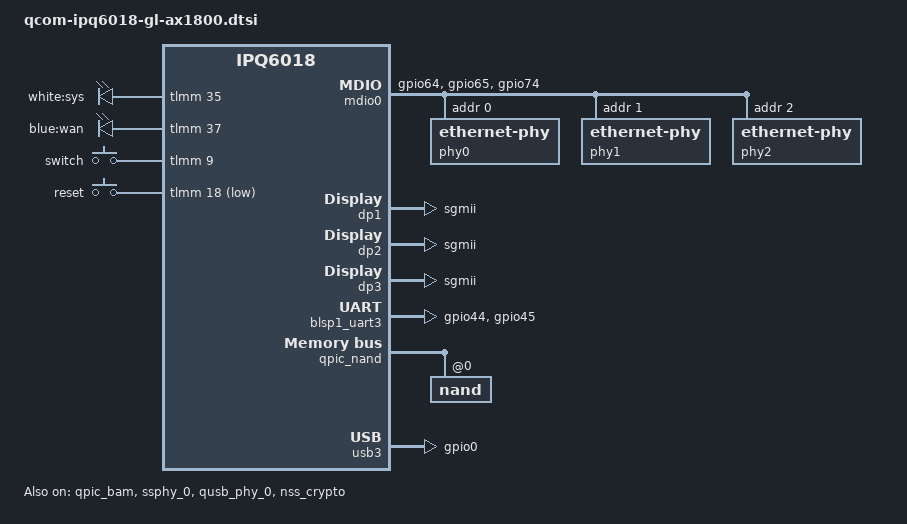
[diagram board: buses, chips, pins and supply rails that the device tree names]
/dts-v1/;
/*
 * Copyright (c) 2019-2021, The Linux Foundation. All rights reserved.
 *
 * Permission to use, copy, modify, and/or distribute this software for any
 * purpose with or without fee is hereby granted, provided that the above
 * copyright notice and this permission notice appear in all copies.
 *
 * THE SOFTWARE IS PROVIDED "AS IS" AND THE AUTHOR DISCLAIMS ALL WARRANTIES
 * WITH REGARD TO THIS SOFTWARE INCLUDING ALL IMPLIED WARRANTIES OF
 * MERCHANTABILITY AND FITNESS. IN NO EVENT SHALL THE AUTHOR BE LIABLE FOR
 * ANY SPECIAL, DIRECT, INDIRECT, OR CONSEQUENTIAL DAMAGES OR ANY DAMAGES
 * WHATSOEVER RESULTING FROM LOSS OF USE, DATA OR PROFITS, WHETHER IN AN
 * ACTION OF CONTRACT, NEGLIGENCE OR OTHER TORTIOUS ACTION, ARISING OUT OF
 * OR IN CONNECTION WITH THE USE OR PERFORMANCE OF THIS SOFTWARE.
 */

#include "ipq6018.dtsi"
#include "ipq6018-cpr-regulator.dtsi"
#include <dt-bindings/input/input.h>

/ {
	#address-cells = <0x2>;
	#size-cells = <0x2>;
	interrupt-parent = <&intc>;
	qcom,msm-id = <0x1A5 0x0>;

	aliases {
		ethernet0 = "/soc/dp1";
		ethernet1 = "/soc/dp2";
		ethernet2 = "/soc/dp3";

		led-boot = &led_run;
		led-failsafe = &led_run;
		led-running = &led_run;
		led-upgrade = &led_run;
	};

	chosen {
		bootargs = "console=ttyMSM0,115200,n8 rw init=/init";
#ifdef __IPQ_MEM_PROFILE_256_MB__
		bootargs-append = " swiotlb=1";
#else
		bootargs-append = " swiotlb=1 coherent_pool=2M";
#endif
	};

	/*
	 * +=========+==============+========================+
	 * |        |              |                         |
	 * | Region | Start Offset |          Size           |
	 * |        |              |                         |
	 * +--------+--------------+-------------------------+
	 * |        |              |                         |
	 * |        |              |                         |
	 * |        |              |                         |
	 * |        |              |                         |
	 * | Linux  |  0x41000000  |         139MB           |
	 * |        |              |                         |
	 * |        |              |                         |
	 * |        |              |                         |
	 * +--------+--------------+-------------------------+
	 * | TZ App |  0x49B00000  |           6MB           |
	 * +--------+--------------+-------------------------+
	 *
	 * From the available 145 MB for Linux in the first 256 MB,
	 * we are reserving 6 MB for TZAPP.
	 *
	 * Refer arch/arm64/boot/dts/qcom/qcom-ipq6018-memory.dtsi
	 * for memory layout.
	 */

/* TZAPP is enabled only in default memory profile */
#if !defined(__IPQ_MEM_PROFILE_256_MB__) && !defined(__IPQ_MEM_PROFILE_512_MB__)
	reserved-memory {
		tzapp:tzapp@49B00000 {	/* TZAPPS */
			no-map;
			reg = <0x0 0x49B00000 0x0 0x00600000>;
		};
	};
#endif
};

&tlmm {
	uart_pins: uart_pins {
		mux {
			pins = "gpio44", "gpio45";
			function = "blsp2_uart";
			drive-strength = <8>;
			bias-pull-down;
		};
	};

	spi_0_pins: spi_0_pins {
		mux {
			pins = "gpio38", "gpio39", "gpio40", "gpio41";
			function = "blsp0_spi";
			drive-strength = <8>;
			bias-pull-down;
		};
	};

	button_pins: button_pins {
		switch_button {
			pins = "gpio9";
			function = "gpio";
			drive-strength = <8>;
			bias-pull-up;
		};
		reset_button {
			pins = "gpio18";
			function = "gpio";
			drive-strength = <8>;
			bias-pull-up;
		};
	};

	mdio_pins: mdio_pinmux {
		mux_0 {
			pins = "gpio64";
			function = "mdc";
			drive-strength = <8>;
			bias-pull-up;
		};
		mux_1 {
			pins = "gpio65";
			function = "mdio";
			drive-strength = <8>;
			bias-pull-up;
		};
		mux_2 {
			pins = "gpio74";
			function = "gpio";
			bias-pull-up;
		};
	};

	leds_pins: leds_pins {
		white {
			pins = "gpio35";
			function = "gpio";
			drive-strength = <8>;
			bias-pull-down;
		};
		blue {
			pins = "gpio37";
			function = "gpio";
			drive-strength = <8>;
			bias-pull-down;
		};
	};

	usb_pins: usb_pins {
		usb_pwr {
			pins = "gpio0";
			function = "gpio";
			bias-pull-up;
			output-high;
		};
	};
};

&soc {
	mdio0: mdio@90000 {
		pinctrl-0 = <&mdio_pins>;
		pinctrl-names = "default";
		phy-reset-gpio = <&tlmm 74 GPIO_ACTIVE_HIGH>;
		status = "ok";
		phy0: ethernet-phy@0 {
			reg = <0>;
		};
		phy1: ethernet-phy@1 {
			reg = <1>;
		};
		phy2: ethernet-phy@2 {
			reg = <2>;
		};
	};

	ess0: ess-switch@3a000000 {
		switch_cpu_bmp = <0x1>;  /* cpu port bitmap */
		switch_lan_bmp = <0x0c>; /* lan port bitmap */
		switch_wan_bmp = <0x02>; /* wan port bitmap */
		switch_inner_bmp = <0xc0>; /*inner port bitmap*/
		switch_mac_mode = <0x0>; /* mac mode for uniphy instance0*/
		switch_mac_mode1 = <0xff>; /* mac mode for uniphy instance1*/
		switch_mac_mode2 = <0xff>; /* mac mode for uniphy instance2*/
		qcom,port_phyinfo {
			port@0 {
				port_id = <1>;
				phy_address = <0>;
			};
			port@1 {
				port_id = <2>;
				phy_address = <1>;
			};
			port@2 {
				port_id = <3>;
				phy_address = <2>;
			};
		};
	};

	dp1 {
		device_type = "network";
		compatible = "qcom,nss-dp";
		qcom,id = <1>;
		reg = <0x3a001000 0x200>;
		qcom,mactype = <0>;
		local-mac-address = [000000000000];
		qcom,link-poll = <1>;
		qcom,phy-mdio-addr = <0>;
		phy-mode = "sgmii";
	};

	dp2 {
		device_type = "network";
		compatible = "qcom,nss-dp";
		qcom,id = <2>;
		reg = <0x3a001200 0x200>;
		qcom,mactype = <0>;
		local-mac-address = [000000000000];
		qcom,link-poll = <1>;
		qcom,phy-mdio-addr = <1>;
		phy-mode = "sgmii";
	};

	dp3 {
		device_type = "network";
		compatible = "qcom,nss-dp";
		qcom,id = <3>;
		reg = <0x3a001400 0x200>;
		qcom,mactype = <0>;
		local-mac-address = [000000000000];
		qcom,link-poll = <1>;
		qcom,phy-mdio-addr = <2>;
		phy-mode = "sgmii";
	};

	leds {
		compatible = "gpio-leds";
		pinctrl-0 = <&leds_pins>;
		pinctrl-names = "default";

		led_run: led@35 {
			label = "white:sys";
			gpios = <&tlmm 35 GPIO_ACTIVE_HIGH>;
			default-state = "on";
		};

		led@37 {
			label = "blue:wan";
			gpios = <&tlmm 37 GPIO_ACTIVE_HIGH>;
			default-state = "on";
		};
	};

	gpio_keys {
		compatible = "gpio-keys";
		pinctrl-0 = <&button_pins>;
		pinctrl-names = "default";

		switch {
			label = "switch";
			linux,code = <KEY_WPS_BUTTON>;
			gpios = <&tlmm 9 GPIO_ACTIVE_HIGH>;
			linux,input-type = <1>;
			debounce-interval = <60>;
		};
		reset {
			label = "reset";
			linux,code = <KEY_RESTART>;
			gpios = <&tlmm 18 GPIO_ACTIVE_LOW>;
			linux,input-type = <1>;
			debounce-interval = <60>;
		};
	};
};

&blsp1_uart3 {
	pinctrl-0 = <&uart_pins>;
	pinctrl-names = "default";
	status = "ok";
};

&qpic_bam {
	status = "ok";
};

&qpic_nand {
	status = "ok";

	nand@0 {
		reg = <0>;
		#address-cells = <1>;
		#size-cells = <1>;

		nand-ecc-strength = <4>;
		nand-ecc-step-size = <512>;
		nand-bus-width = <8>;
	};
};

&ssphy_0 {
	status = "ok";
};

&qusb_phy_0 {
	status = "ok";
};

&usb3 {
	pinctrl-0 = <&usb_pins>;
	pinctrl-names = "default";
	status = "ok";
};

&nss_crypto {
	status = "ok";
};

&CPU0 {
	operating-points = <
		/* kHz   uV (fixed) */
		864000   1100000
		1056000  1100000
		1200000  1100000
		1608000  1100000
	>;
	clock-latency = <200000>;
};

&CPU1 {
	operating-points = <
		/* kHz   uV (fixed) */
		864000   1100000
		1056000  1100000
		1200000  1100000
		1608000  1100000
	>;
	clock-latency = <200000>;
};

&CPU2 {
	operating-points = <
		/* kHz   uV (fixed) */
		864000   1100000
		1056000  1100000
		1200000  1100000
		1608000  1100000
	>;
	clock-latency = <200000>;
};

&CPU3 {
	operating-points = <
		/* kHz   uV (fixed) */
		864000   1100000
		1056000  1100000
		1200000  1100000
		1608000  1100000
	>;
	clock-latency = <200000>;
};
